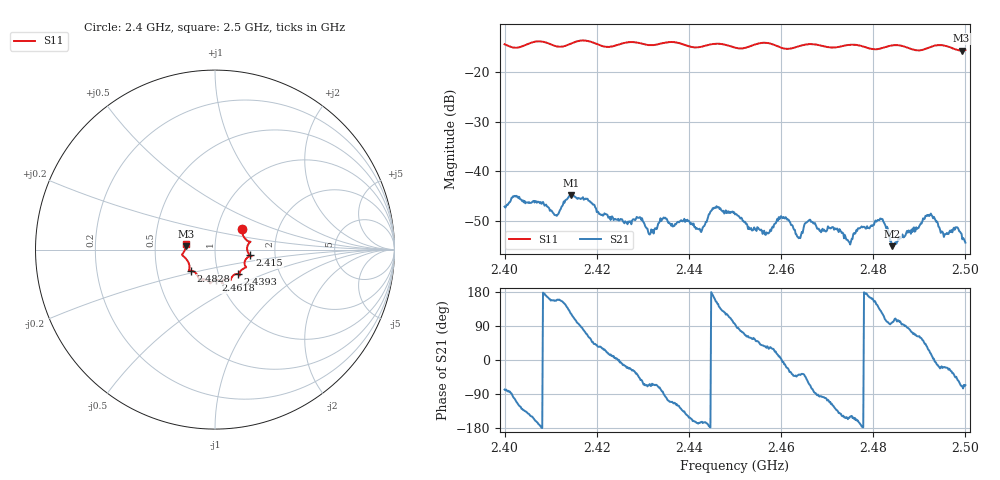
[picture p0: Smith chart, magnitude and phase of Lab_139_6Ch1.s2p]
# Hz S RI R 50
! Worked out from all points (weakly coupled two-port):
!   601 points, 2.4 GHz to 2.5 GHz, reference 50 ohm
!   highest |S21| = -44.76 dB at 2.4143 GHz (marker M1); lowest = -55.1 dB at 2.4842 GHz (marker M2)
!   lowest |S11| = -15.7 dB at 2.4992 GHz (marker M3), VSWR 1.39, Z = 36 + j1.36 ohm
!   |S11| at or under -10 dB: start of sweep to end of sweep
!   S12 and S22 are empty: the file has one direction only
!   S11 on the Smith chart (normalised r, x): 2.4 GHz: 1.31, +0.31; 2.415 GHz: 1.48, -0.10; 2.4393 GHz: 1.23, -0.35; 2.4618 GHz: 0.95, -0.33; 2.4828 GHz: 0.74, -0.18; 2.5 GHz: 0.72, +0.05
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2.4e9  0.151 0.1145  0.000916 -0.0043  0 0  0 0
2.402333e9  0.1571 0.0766  -0.00147 -0.00537  0 0  0 0
2.411167e9  0.1804 0.0176  -0.0033 0.00144  0 0  0 0
2.414333e9  0.1899 -0.0262  -0.00314 0.00485  0 0  0 0
2.415e9  0.1947 -0.0322  -0.00206 0.00526  0 0  0 0
2.416667e9  0.2033 -0.0382  0.000349 0.0053  0 0  0 0
2.433333e9  0.1369 -0.1317  0.00101 -0.0028  0 0  0 0
2.439333e9  0.1255 -0.1359  -0.00255 -0.00194  0 0  0 0
2.442333e9  0.0977 -0.1484  -0.00256 -0.000625  0 0  0 0
2.445667e9  0.0883 -0.1701  -0.00402 0.0015  0 0  0 0
2.45e9  0.0687 -0.1614  -0.000289 0.00366  0 0  0 0
2.457e9  0.0443 -0.1903  0.00192 0.00141  0 0  0 0
2.461833e9  0.00399 -0.1709  0.00266 -0.00163  0 0  0 0
2.463833e9  -0.0191 -0.1802  0.00165 -0.00132  0 0  0 0
2.466667e9  -0.0259 -0.1886  0.00076 -0.003  0 0  0 0
2.474667e9  -0.0838 -0.1668  -0.00173 -0.000908  0 0  0 0
2.482833e9  -0.1345 -0.1177  -0.000583 0.00259  0 0  0 0
2.483333e9  -0.1385 -0.1175  -0.000313 0.00239  0 0  0 0
2.484167e9  -0.143 -0.1172  -0.000304 0.00173  0 0  0 0
2.492167e9  -0.1715 -0.041  0.00322 0.00147  0 0  0 0
2.499167e9  -0.1628 0.0184  0.000846 -0.00219  0 0  0 0
2.5e9  -0.1626 0.033  0.000765 -0.00175  0 0  0 0
